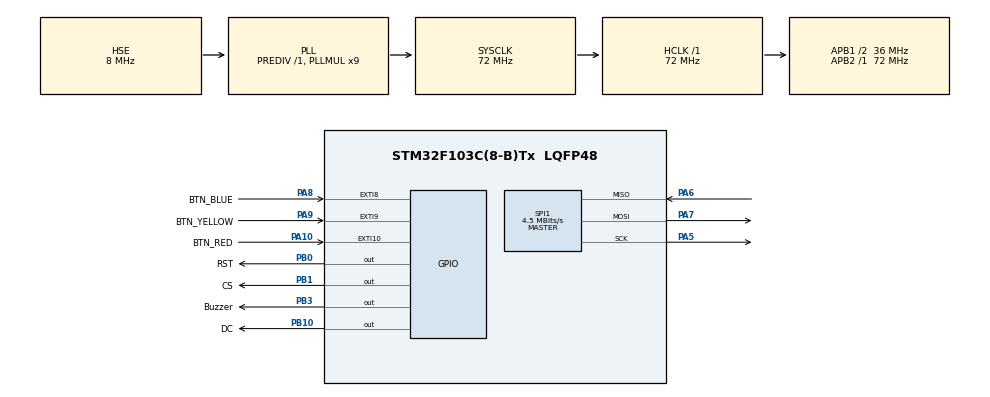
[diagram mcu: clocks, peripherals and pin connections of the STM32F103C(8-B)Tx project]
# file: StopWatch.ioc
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Mcu.Family=STM32F1
RCC.PLLSourceVirtual=RCC_PLLSOURCE_HSE
PA6.Mode=Full_Duplex_Master
PA7.Mode=Full_Duplex_Master
PD1-OSC_OUT.Mode=HSE-External-Oscillator
SPI1.VirtualType=VM_MASTER
PA10.GPIO_PuPd=GPIO_PULLUP
PA9.GPIO_Label=BTN_YELLOW
VP_RTC_VS_RTC_Activate.Mode=RTC_Enabled
PB0.GPIO_Label=RST
PD0-OSC_IN.Signal=RCC_OSC_IN
RCC.APB1CLKDivider=RCC_HCLK_DIV2
PA9.GPIO_PuPd=GPIO_PULLUP
RCC.SYSCLKSource=RCC_SYSCLKSOURCE_PLLCLK
ProjectManager.StackSize=0x400
PD1-OSC_OUT.Signal=RCC_OSC_OUT
PA13.Signal=SYS_JTMS-SWDIO
PA8.GPIO_Label=BTN_BLUE
ProjectManager.TargetToolchain=STM32CubeIDE
PB10.GPIO_Label=DC
PB0.PinState=GPIO_PIN_SET
SPI1.Direction=SPI_DIRECTION_2LINES
RCC.HCLKFreq_Value=72000000
RCC.APB2TimFreq_Value=72000000
PA9.Signal=GPXTI9
SPI1.CalculateBaudRate=4.5 MBits/s
RCC.USBFreq_Value=72000000
RCC.AHBFreq_Value=72000000
PD0-OSC_IN.Mode=HSE-External-Oscillator
PB10.Signal=GPIO_Output
PA5.Signal=SPI1_SCK
RTC.Minutes=15
board=custom
RCC.PLLMUL=RCC_PLL_MUL9
RCC.APB2Freq_Value=72000000
VP_TIM2_VS_ClockSourceINT.Mode=Internal
SPI1.Mode=SPI_MODE_MASTER
PA14.Mode=Serial_Wire
PB1.GPIO_Label=CS
NVIC.TIM2_IRQn=true\:0\:0\:false\:false\:true\:true\:true
PA10.GPIO_Label=BTN_RED
PA8.Signal=GPXTI8
TIM2.Period=99
PA13.Mode=Serial_Wire
Mcu.Name=STM32F103C(8-B)Tx
PB3.Signal=GPIO_Output
RCC.SYSCLKFreq_VALUE=72000000
RTC.Hours=12
Mcu.Package=LQFP48
TIM2.Prescaler=7199
PA6.Signal=SPI1_MISO
PB1.Signal=GPIO_Output
PA8.GPIO_ModeDefaultEXTI=GPIO_MODE_IT_FALLING
PA10.GPIO_ModeDefaultEXTI=GPIO_MODE_IT_FALLING
NVIC.EXTI9_5_IRQn=true\:0\:0\:false\:false\:true\:true\:true
PA10.Signal=GPXTI10
PA14.Signal=SYS_JTCK-SWCLK
VP_RTC_VS_RTC_Calendar.Mode=RTC_Calendar
ProjectManager.HeapSize=0x200
PA8.GPIO_PuPd=GPIO_PULLUP
NVIC.PriorityGroup=NVIC_PRIORITYGROUP_4
PA9.GPIO_ModeDefaultEXTI=GPIO_MODE_IT_FALLING
RCC.APB1TimFreq_Value=72000000
TIM2.AutoReloadPreload=TIM_AUTORELOAD_PRELOAD_ENABLE
RCC.APB1Freq_Value=36000000
SPI1.BaudRatePrescaler=SPI_BAUDRATEPRESCALER_16
PB0.Signal=GPIO_Output
NVIC.RCC_IRQn=true\:0\:0\:false\:false\:true\:true\:false
PA7.Signal=SPI1_MOSI
PA5.Mode=Full_Duplex_Master
PB3.GPIO_Label=Buzzer

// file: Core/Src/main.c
/* USER CODE BEGIN Header */
	/**
	  ******************************************************************************
	  * @file           : main.c
	  * @brief          : Main program body
	  ******************************************************************************
	  * @attention
	  *
	  * <h2><center>&copy; Copyright (c) 2026 STMicroelectronics.
	  * All rights reserved.</center></h2>
	  *
	  * This software component is licensed by ST under BSD 3-Clause license,
	  * the "License"; You may not use this file except in compliance with the
	  * License. You may obtain a copy of the License at:
	  *                        opensource.org/licenses/BSD-3-Clause
	  *
	  ******************************************************************************
	  */
/* USER CODE END Header */
#include "main.h"
#include "gc9a01a.h"

/* USER CODE BEGIN PTD */
typedef enum {
    STATE_STOP,
    STATE_RUN,
    STATE_LAP_VIEW
} SystemState_t;

typedef enum {
    EVENT_NONE,
    EVENT_BTN_RED,
    EVENT_BTN_BLUE,
    EVENT_BTN_YELLOW
} SystemEvent_t;

typedef struct {
    uint8_t min;
    uint8_t sec;
    uint8_t ms;
} LapRecord_t;

/* USER CODE END PTD */

/* USER CODE BEGIN PD */
#define MAX_LAPS 20

#define BTN_BLUE_PORT GPIOA
#define BTN_BLUE_PIN GPIO_PIN_8

#define BTN_YELLOW_PORT GPIOA
#define BTN_YELLOW_PIN GPIO_PIN_9

#define BTN_RED_PORT GPIOA
#define BTN_RED_PIN GPIO_PIN_10

#define BUZZER_PORT GPIOB
#define BUZZER_PIN GPIO_PIN_3

/* USER CODE END PD */

RTC_HandleTypeDef hrtc;

SPI_HandleTypeDef hspi1;

TIM_HandleTypeDef htim2;

/* USER CODE BEGIN PV */
GC9A01A my_tft;
volatile uint8_t debounce_flag = 0;

  //Biến quản lý thời gian
volatile uint16_t milliseconds = 0;
volatile uint8_t seconds = 0;
volatile uint8_t minutes = 0;
volatile uint8_t show_dots = 1;
volatile uint8_t buzzer_timeout = 0;

//Biến quản lý FSM và hệ thống
volatile uint8_t update_display = 1;
volatile uint8_t is_running = 0;
volatile SystemEvent_t pending_event = EVENT_NONE;
SystemState_t current_state = STATE_STOP;

//Biến quản lý LAP
LapRecord_t lap_array[MAX_LAPS];
uint8_t lap_count = 0;
uint8_t current_lap_view = 0;
/* USER CODE END PV */

void SystemClock_Config(void);
static void MX_GPIO_Init(void);
static void MX_TIM2_Init(void);
static void MX_SPI1_Init(void);
static void MX_RTC_Init(void);

/* USER CODE BEGIN 0 */
const uint8_t seg_map[10] = {
    0x3F, 0x06, 0x5B, 0x4F, 0x66, 0x6D, 0x7D, 0x07, 0x7F, 0x6F
};

void Beep(void)
{
	HAL_GPIO_WritePin(BUZZER_PORT, BUZZER_PIN, GPIO_PIN_SET);
	buzzer_timeout = 5;
}

void draw_segment(uint16_t x, uint16_t y, uint16_t w, uint16_t h, uint16_t color) {
    GC9A01A_start_spi_transaction(&my_tft);
    GC9A01A_set_addr_window(&my_tft, x, y, w, h);
    GC9A01A_set_spi_datasize(&my_tft, SPI_DATASIZE_16BIT);
    uint32_t total_pixel = w * h;
    for (uint32_t i = 0; i < total_pixel; ++i) {
        HAL_SPI_Transmit(&hspi1, (uint8_t *)&color, 1, 10);
    }
    GC9A01A_end_spi_transaction(&my_tft);
}

// Vẽ LED 7 đoạn với kích thước thu nhỏ
void Display_Digit(uint8_t num, uint16_t ox, uint16_t oy, uint16_t color, uint16_t bg_color) {
    if (num > 9) return;
    uint8_t code = seg_map[num];
    uint16_t sw = 20; //Cao thanh ngang
    uint16_t sh = 20; //Cao thanh dọc
    uint16_t th = 4;  //Độ dày thanh

    draw_segment(ox + th,     oy,              sw, th, (code & 0x01) ? color : bg_color); // a
    draw_segment(ox + sw+th,  oy + th,         th, sh, (code & 0x02) ? color : bg_color); // b
    draw_segment(ox + sw+th,  oy + 2*th + sh,  th, sh, (code & 0x04) ? color : bg_color); // c
    draw_segment(ox + th,     oy + 2*sh + 2*th,sw, th, (code & 0x08) ? color : bg_color); // d
    draw_segment(ox,          oy + 2*th + sh,  th, sh, (code & 0x10) ? color : bg_color); // e
    draw_segment(ox,          oy + th,         th, sh, (code & 0x20) ? color : bg_color); // f
    draw_segment(ox + th,     oy + th + sh,    sw, th, (code & 0x40) ? color : bg_color); // g
}

void Display_Small_Digit(uint8_t num, uint16_t ox, uint16_t oy, uint16_t color, uint16_t bg_color) {
    if (num > 9) return;
    uint8_t code = seg_map[num];
    uint16_t sw = 10; //Cao thanh ngang
    uint16_t sh = 12; //Cao thanh dọc
    uint16_t th = 3;  //Độ dày thanh

    draw_segment(ox + th,      oy,              sw, th, (code & 0x01) ? color : bg_color); // a
    draw_segment(ox + sw+th,   oy + th,         th, sh, (code & 0x02) ? color : bg_color); // b
    draw_segment(ox + sw+th,   oy + 2*th + sh,  th, sh, (code & 0x04) ? color : bg_color); // c
    draw_segment(ox + th,      oy + 2*sh + 2*th,sw, th, (code & 0x08) ? color : bg_color); // d
    draw_segment(ox,           oy + 2*th + sh,  th, sh, (code & 0x10) ? color : bg_color); // e
    draw_segment(ox,           oy + th,         th, sh, (code & 0x20) ? color : bg_color); // f
    draw_segment(ox + th,      oy + th + sh,    sw, th, (code & 0x40) ? color : bg_color); // g
}

void FSM_Update(SystemEvent_t event) {
	SystemState_t old_state = current_state;
    switch (current_state) {

        case STATE_STOP:
            if (event == EVENT_BTN_RED) {
                is_running = 1;
                current_state = STATE_RUN;
                update_display = 1;
            }
            else if (event == EVENT_BTN_BLUE) {
                minutes = 0; seconds = 0; milliseconds = 0;
                lap_count = 0;
                update_display = 1;
            }
            else if (event == EVENT_BTN_YELLOW) {
                if (lap_count > 0) {
                    current_lap_view = lap_count - 1;
                    current_state = STATE_LAP_VIEW;
                    update_display = 1;
                }
            }
            break;

        case STATE_RUN:
            if (event == EVENT_BTN_RED) {
                is_running = 0;
                current_state = STATE_STOP;
                update_display = 1;
            }
            else if (event == EVENT_BTN_BLUE) {
                if (lap_count < MAX_LAPS) {
                    lap_array[lap_count].min = minutes;
                    lap_array[lap_count].sec = seconds;
                    lap_array[lap_count].ms = milliseconds;
                    lap_count++;
                    update_display = 1;
                }
            }
            else if (event == EVENT_BTN_YELLOW) {
                if (lap_count > 0) {
                    current_lap_view = lap_count - 1;
                    current_state = STATE_LAP_VIEW;
                    update_display = 1;
                }
            }
            break;

        case STATE_LAP_VIEW:
            if (event == EVENT_BTN_RED) {
                if (current_lap_view > 0) {
                    current_lap_view--;
                    update_display = 1;
                }
            }
            else if (event == EVENT_BTN_BLUE) {
                if (current_lap_view < lap_count - 1) {
                    current_lap_view++;
                    update_display = 1;
                }
            }
            else if (event == EVENT_BTN_YELLOW) {
                current_state = (is_running == 1) ? STATE_RUN : STATE_STOP;
                update_display = 1;
            }
            break;
    }

    if (current_state != old_state)
    {
    	Beep();
    }
    else if (event == EVENT_BTN_BLUE)
    {
    	Beep();
    }
    else if (event == EVENT_BTN_RED && current_state == STATE_LAP_VIEW)
        {
            Beep();
        }
}

/* USER CODE END 0 */

int main(void)
{

  /* MCU Configuration--------------------------------------------------------*/

  /* Reset of all peripherals, Initializes the Flash interface and the Systick. */
  HAL_Init();

  /* Configure the system clock */
  SystemClock_Config();

  /* Initialize all configured peripherals */
  MX_GPIO_Init();
  MX_TIM2_Init();
  MX_SPI1_Init();
  MX_RTC_Init();
  /* USER CODE BEGIN 2 */
	  // Reset LCD
	  HAL_GPIO_WritePin(GPIOB, GPIO_PIN_0, GPIO_PIN_RESET);
	  HAL_Delay(200);
	  HAL_GPIO_WritePin(GPIOB, GPIO_PIN_0, GPIO_PIN_SET);
	  HAL_Delay(200);

	  GC9A01A_init(&my_tft,
					 &hspi1,
					 CS_GPIO_Port, CS_Pin,
					 GPIOB, DC_Pin,
					 NULL, 0,
					 GPIOB, RST_Pin);

	  //==================
	    GC9A01A_start_spi_transaction(&my_tft);
	    GC9A01A_set_addr_window(&my_tft, 0, 0, 240, 240);
	    GC9A01A_set_spi_datasize(&my_tft, SPI_DATASIZE_16BIT);
	    uint16_t black = GC9A01A_BLACK;
	    for (uint32_t i = 0; i < 57600; ++i)
	    {
	        HAL_SPI_Transmit(&hspi1, (uint8_t *)&black, 1, 10);
	    }
	    GC9A01A_end_spi_transaction(&my_tft);

	  uint16_t oy = 95;
		uint16_t yellow = GC9A01A_YELLOW;

		Display_Digit(0, 9,   oy, yellow, black); // Phút hàng chục
		Display_Digit(0, 42,  oy, yellow, black); // Phút hàng đơn vị
		Display_Digit(0, 94,  oy, yellow, black); // Giây hàng chục
		Display_Digit(0, 127, oy, yellow, black); // Giây hàng đơn vị

		uint16_t oy_small = oy + 18;
		Display_Small_Digit(0, 180, oy_small, yellow, black); // Phần trăm giây chục
		Display_Small_Digit(0, 205, oy_small, yellow, black); // Phần trăm giây đơn vị

		// Vẽ 2 dấu chấm tĩnh
		draw_segment(80, oy + 15, 4, 4, yellow);
		draw_segment(80, oy + 35, 4, 4, yellow);

		// Vẽ dấu chấm mili giây
		draw_segment(163, oy + 44, 4, 4, yellow);

		HAL_TIM_Base_Start_IT(&htim2);

  /* USER CODE END 2 */

  /* Infinite loop */
	  while (1)
	  {

    /* USER CODE BEGIN 3 */
      SystemEvent_t event = EVENT_NONE;

      // 1. Kiểm tra xem ngắt có gửi sự kiện nào tới không

      __disable_irq();
      event = pending_event;
      pending_event = EVENT_NONE;
      __enable_irq();

      if (event != EVENT_NONE)
      {
          FSM_Update(event);
      }

		  if (update_display == 1) {
			  update_display = 0;

        uint8_t disp_m, disp_s;
        uint16_t disp_ms;
        uint16_t color;

        if (current_state == STATE_LAP_VIEW)
        {
            disp_m = lap_array[current_lap_view].min;
            disp_s = lap_array[current_lap_view].sec;
            disp_ms = lap_array[current_lap_view].ms;
            color = GC9A01A_CYAN;
        }
        else
        {
            disp_m = minutes;
            disp_s = seconds;
            disp_ms = milliseconds;
            color = GC9A01A_YELLOW;
        }

			  uint16_t oy = 95;
			  uint16_t oy_small = oy + 18;
			  uint16_t black = GC9A01A_BLACK;

			  // Vẽ Phút
			  Display_Digit(disp_m / 10, 9,   oy, color, black);
			  Display_Digit(disp_m % 10, 42,  oy, color, black);

			  // Vẽ Giây
			  Display_Digit(disp_s / 10, 94,  oy, color, black);
			  Display_Digit(disp_s % 10, 127, oy, color, black);

			  // Dấu 2 chấm
			  uint16_t dot_color = (show_dots) ? color : black;
			  draw_segment(80, oy + 15, 4, 4, dot_color);
			  draw_segment(80, oy + 35, 4, 4, dot_color);

			  // Vẽ phần trăm giây
			  uint8_t hundredths = disp_ms / 10;
			  Display_Small_Digit(hundredths / 10, 180, oy_small, color, black);
			  Display_Small_Digit(hundredths % 10, 205, oy_small, color, black);

			  // Dấu 1 chấm tĩnh
			  draw_segment(163, oy + 44, 4, 4, color);
		  }
	  }
  /* USER CODE END 3 */
}

void SystemClock_Config(void)
{
  RCC_OscInitTypeDef RCC_OscInitStruct = {0};
  RCC_ClkInitTypeDef RCC_ClkInitStruct = {0};
  RCC_PeriphCLKInitTypeDef PeriphClkInit = {0};

  /** Initializes the RCC Oscillators according to the specified parameters
  * in the RCC_OscInitTypeDef structure.
  */
  RCC_OscInitStruct.OscillatorType = RCC_OSCILLATORTYPE_LSI|RCC_OSCILLATORTYPE_HSE;
  RCC_OscInitStruct.HSEState = RCC_HSE_ON;
  RCC_OscInitStruct.HSEPredivValue = RCC_HSE_PREDIV_DIV1;
  RCC_OscInitStruct.HSIState = RCC_HSI_ON;
  RCC_OscInitStruct.LSIState = RCC_LSI_ON;
  RCC_OscInitStruct.PLL.PLLState = RCC_PLL_ON;
  RCC_OscInitStruct.PLL.PLLSource = RCC_PLLSOURCE_HSE;
  RCC_OscInitStruct.PLL.PLLMUL = RCC_PLL_MUL9;
  if (HAL_RCC_OscConfig(&RCC_OscInitStruct) != HAL_OK)
  {
    Error_Handler();
  }
  /** Initializes the CPU, AHB and APB buses clocks
  */
  RCC_ClkInitStruct.ClockType = RCC_CLOCKTYPE_HCLK|RCC_CLOCKTYPE_SYSCLK
                              |RCC_CLOCKTYPE_PCLK1|RCC_CLOCKTYPE_PCLK2;
  RCC_ClkInitStruct.SYSCLKSource = RCC_SYSCLKSOURCE_PLLCLK;
  RCC_ClkInitStruct.AHBCLKDivider = RCC_SYSCLK_DIV1;
  RCC_ClkInitStruct.APB1CLKDivider = RCC_HCLK_DIV2;
  RCC_ClkInitStruct.APB2CLKDivider = RCC_HCLK_DIV1;

  if (HAL_RCC_ClockConfig(&RCC_ClkInitStruct, FLASH_LATENCY_2) != HAL_OK)
  {
    Error_Handler();
  }
  PeriphClkInit.PeriphClockSelection = RCC_PERIPHCLK_RTC;
  PeriphClkInit.RTCClockSelection = RCC_RTCCLKSOURCE_LSI;
  if (HAL_RCCEx_PeriphCLKConfig(&PeriphClkInit) != HAL_OK)
  {
    Error_Handler();
  }
}

static void MX_RTC_Init(void)
{

  RTC_TimeTypeDef sTime = {0};
  RTC_DateTypeDef DateToUpdate = {0};

  /** Initialize RTC Only
  */
  hrtc.Instance = RTC;
  hrtc.Init.AsynchPrediv = RTC_AUTO_1_SECOND;
  hrtc.Init.OutPut = RTC_OUTPUTSOURCE_ALARM;
  if (HAL_RTC_Init(&hrtc) != HAL_OK)
  {
    Error_Handler();
  }

  /** Initialize RTC and set the Time and Date
  */
  sTime.Hours = 0x12;
  sTime.Minutes = 0x15;
  sTime.Seconds = 0x0;

  if (HAL_RTC_SetTime(&hrtc, &sTime, RTC_FORMAT_BCD) != HAL_OK)
  {
    Error_Handler();
  }
  DateToUpdate.WeekDay = RTC_WEEKDAY_MONDAY;
  DateToUpdate.Month = RTC_MONTH_JANUARY;
  DateToUpdate.Date = 0x1;
  DateToUpdate.Year = 0x0;

  if (HAL_RTC_SetDate(&hrtc, &DateToUpdate, RTC_FORMAT_BCD) != HAL_OK)
  {
    Error_Handler();
  }

}

static void MX_SPI1_Init(void)
{

  /* SPI1 parameter configuration*/
  hspi1.Instance = SPI1;
  hspi1.Init.Mode = SPI_MODE_MASTER;
  hspi1.Init.Direction = SPI_DIRECTION_2LINES;
  hspi1.Init.DataSize = SPI_DATASIZE_8BIT;
  hspi1.Init.CLKPolarity = SPI_POLARITY_LOW;
  hspi1.Init.CLKPhase = SPI_PHASE_1EDGE;
  hspi1.Init.NSS = SPI_NSS_SOFT;
  hspi1.Init.BaudRatePrescaler = SPI_BAUDRATEPRESCALER_16;
  hspi1.Init.FirstBit = SPI_FIRSTBIT_MSB;
  hspi1.Init.TIMode = SPI_TIMODE_DISABLE;
  hspi1.Init.CRCCalculation = SPI_CRCCALCULATION_DISABLE;
  hspi1.Init.CRCPolynomial = 10;
  if (HAL_SPI_Init(&hspi1) != HAL_OK)
  {
    Error_Handler();
  }

}

static void MX_TIM2_Init(void)
{

  TIM_ClockConfigTypeDef sClockSourceConfig = {0};
  TIM_MasterConfigTypeDef sMasterConfig = {0};

  htim2.Instance = TIM2;
  htim2.Init.Prescaler = 7199;
  htim2.Init.CounterMode = TIM_COUNTERMODE_UP;
  htim2.Init.Period = 99;
  htim2.Init.ClockDivision = TIM_CLOCKDIVISION_DIV1;
  htim2.Init.AutoReloadPreload = TIM_AUTORELOAD_PRELOAD_ENABLE;
  if (HAL_TIM_Base_Init(&htim2) != HAL_OK)
  {
    Error_Handler();
  }
  sClockSourceConfig.ClockSource = TIM_CLOCKSOURCE_INTERNAL;
  if (HAL_TIM_ConfigClockSource(&htim2, &sClockSourceConfig) != HAL_OK)
  {
    Error_Handler();
  }
  sMasterConfig.MasterOutputTrigger = TIM_TRGO_RESET;
  sMasterConfig.MasterSlaveMode = TIM_MASTERSLAVEMODE_DISABLE;
  if (HAL_TIMEx_MasterConfigSynchronization(&htim2, &sMasterConfig) != HAL_OK)
  {
    Error_Handler();
  }

}

static void MX_GPIO_Init(void)
{
  GPIO_InitTypeDef GPIO_InitStruct = {0};

  /* GPIO Ports Clock Enable */
  __HAL_RCC_GPIOD_CLK_ENABLE();
  __HAL_RCC_GPIOA_CLK_ENABLE();
  __HAL_RCC_GPIOB_CLK_ENABLE();

  /*Configure GPIO pin Output Level */
  HAL_GPIO_WritePin(RST_GPIO_Port, RST_Pin, GPIO_PIN_SET);

  /*Configure GPIO pin Output Level */
  HAL_GPIO_WritePin(GPIOB, CS_Pin|DC_Pin|Buzzer_Pin, GPIO_PIN_RESET);

  /*Configure GPIO pins : RST_Pin CS_Pin DC_Pin Buzzer_Pin */
  GPIO_InitStruct.Pin = RST_Pin|CS_Pin|DC_Pin|Buzzer_Pin;
  GPIO_InitStruct.Mode = GPIO_MODE_OUTPUT_PP;
  GPIO_InitStruct.Pull = GPIO_NOPULL;
  GPIO_InitStruct.Speed = GPIO_SPEED_FREQ_LOW;
  HAL_GPIO_Init(GPIOB, &GPIO_InitStruct);

  /*Configure GPIO pins : BTN_BLUE_Pin BTN_YELLOW_Pin BTN_RED_Pin */
  GPIO_InitStruct.Pin = BTN_BLUE_Pin|BTN_YELLOW_Pin|BTN_RED_Pin;
  GPIO_InitStruct.Mode = GPIO_MODE_IT_FALLING;
  GPIO_InitStruct.Pull = GPIO_PULLUP;
  HAL_GPIO_Init(GPIOA, &GPIO_InitStruct);

  /* EXTI interrupt init*/
  HAL_NVIC_SetPriority(EXTI9_5_IRQn, 0, 0);
  HAL_NVIC_EnableIRQ(EXTI9_5_IRQn);

  HAL_NVIC_SetPriority(EXTI15_10_IRQn, 0, 0);
  HAL_NVIC_EnableIRQ(EXTI15_10_IRQn);
}

/* USER CODE BEGIN 4 */

void HAL_GPIO_EXTI_Callback(uint16_t GPIO_Pin)
{
    uint32_t current_time = HAL_GetTick();

    static uint32_t last_blue_time = 0;
    static uint32_t last_yellow_time = 0;
    static uint32_t last_red_time = 0;

    if (GPIO_Pin == BTN_BLUE_Pin) {
        if (current_time - last_blue_time > 200) {
            pending_event = EVENT_BTN_BLUE;
            last_blue_time = current_time;
        }
    }
    else if (GPIO_Pin == BTN_YELLOW_Pin) {
        if (current_time - last_yellow_time > 200) {
            pending_event = EVENT_BTN_YELLOW;
            last_yellow_time = current_time;
        }
    }
    else if (GPIO_Pin == BTN_RED_Pin) {
        if (current_time - last_red_time > 200) {
            pending_event = EVENT_BTN_RED;
            last_red_time = current_time;
        }
    }
}

void HAL_TIM_PeriodElapsedCallback(TIM_HandleTypeDef* htim) {
      if (htim->Instance == TIM2)
      {
    	  if (buzzer_timeout > 0)
    	  {
    		  buzzer_timeout--;
    		  if (buzzer_timeout == 0)
    		  {
    			  HAL_GPIO_WritePin(BUZZER_PORT, BUZZER_PIN, GPIO_PIN_RESET);
    		  }
    	  }
          if (is_running == 1) {
              milliseconds += 10;

              if (milliseconds >= 1000) {
                  milliseconds = 0;
                  seconds++;

                  if (seconds >= 60) {
                      seconds = 0;
                      minutes++;
                      if (minutes >= 60) {
                          minutes = 0;
                      }
                  }
              }
              if (current_state == STATE_RUN) {
                  update_display = 1;
              }
          }
      }
}
/* USER CODE END 4 */

void Error_Handler(void)
{
	  __disable_irq();
	  while (1)
	  {
	  }
}

/************************ (C) COPYRIGHT STMicroelectronics *****END OF FILE****/
